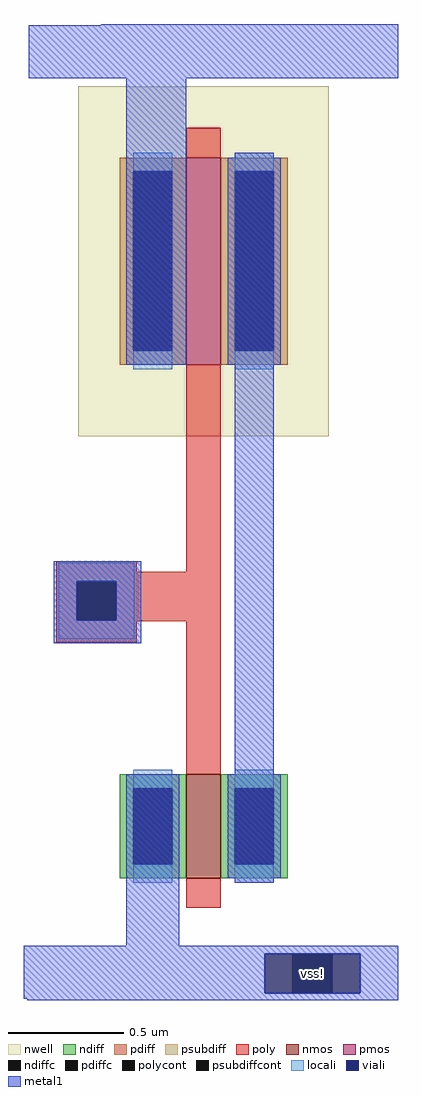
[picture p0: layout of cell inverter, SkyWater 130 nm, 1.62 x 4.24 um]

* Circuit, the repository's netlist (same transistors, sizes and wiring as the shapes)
**.subckt inverter out in vdd vss
*.opin out
*.ipin in
*.ipin vdd
*.ipin vss
XM1 out in vss vss sky130_fd_pr__nfet_01v8 L=0.15 W=0.45 nf=1 ad='int((nf+1)/2) * W/nf * 0.29' as='int((nf+2)/2) * W/nf * 0.29'
+ pd='2*int((nf+1)/2) * (W/nf + 0.29)' ps='2*int((nf+2)/2) * (W/nf + 0.29)' nrd='0.29 / W' nrs='0.29 / W'
+ sa=0 sb=0 sd=0 mult=1 m=1 
XM2 out in vdd vdd sky130_fd_pr__pfet_01v8 L=0.15 W=0.9 nf=1 ad='int((nf+1)/2) * W/nf * 0.29' as='int((nf+2)/2) * W/nf * 0.29'
+ pd='2*int((nf+1)/2) * (W/nf + 0.29)' ps='2*int((nf+2)/2) * (W/nf + 0.29)' nrd='0.29 / W' nrs='0.29 / W'
+ sa=0 sb=0 sd=0 mult=1 m=1 
**.ends
** flattened .save nodes
.end

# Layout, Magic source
magic
tech sky130A
magscale 1 2
<< psubdiff >>
rect -160 -153 -136 -119
rect -101 -153 -77 -119
<< psubdiffcont >>
rect -136 -153 -101 -119
<< poly >>
rect -341 213 -271 222
rect -228 213 -198 369
rect -341 205 -198 213
rect -341 171 -323 205
rect -289 171 -198 205
rect -341 170 -198 171
rect -341 152 -271 170
rect -228 51 -198 170
<< polycont >>
rect -323 171 -289 205
<< locali >>
rect -339 205 -273 221
rect -339 171 -323 205
rect -289 171 -273 205
rect -339 155 -273 171
<< viali >>
rect -323 171 -289 205
rect -160 -153 -136 -119
rect -136 -153 -101 -119
rect -101 -153 -77 -119
<< metal1 >>
rect -302 688 -44 689
rect -365 642 -44 688
rect -280 393 -228 642
rect -343 205 -267 222
rect -343 171 -323 205
rect -289 171 -267 205
rect -343 151 -267 171
rect -280 -112 -234 37
rect -186 -57 -152 577
rect -369 -119 -44 -112
rect -369 -153 -160 -119
rect -77 -153 -44 -119
rect -369 -158 -44 -153
rect -366 -159 -44 -158
use sky130_fd_pr__pfet_01v8_5AYHFE  sky130_fd_pr__pfet_01v8_5AYHFE_0
transform 1 0 -213 0 1 483
box -109 -152 109 152
use sky130_fd_pr__nfet_01v8_NNQ2PV  sky130_fd_pr__nfet_01v8_NNQ2PV_0
transform 1 0 -213 0 1 -8
box -73 -71 73 71
<< labels >>
rlabel metal1 -160 -153 -77 -119 1 vss!
<< end >>

# cell sky130_fd_pr__pfet_01v8_5AYHFE: kit device sky130_fd_pr__pfet_01v8, w 0.9 l 0.15 m 1 nf 1 diffcov 100 polycov 100 guard 0 glc 0 grc 0 gtc 0 gbc 0 tbcov 100 rlcov 100 topc 0 botc 0 poverlap 0 doverlap 1 lmin 0.15 wmin 0.42 compatible {sky130_fd_pr__pfet_01v8 sky130_fd_pr__pfet_01v8_lvt sky130_fd_pr__pfet_01v8_hvt sky130_fd_pr__pfet_g5v0d10v5} full_metal 0 viasrc 100 viadrn 100 viagate 100 viagb 0 viagr 0 viagl 0 viagt 0

# cell sky130_fd_pr__nfet_01v8_NNQ2PV: kit device sky130_fd_pr__nfet_01v8, w 0.450 l 0.150 m 1 nf 1 diffcov 100 polycov 100 guard 0 glc 0 grc 0 gtc 0 gbc 0 tbcov 100 rlcov 100 topc 0 botc 0 poverlap 0 doverlap 1 lmin 0.15 wmin 0.42 compatible {sky130_fd_pr__nfet_01v8 sky130_fd_pr__nfet_01v8_lvt sky130_fd_bs_flash__special_sonosfet_star sky130_fd_pr__nfet_g5v0d10v5 sky130_fd_pr__nfet_05v0_nvt} full_metal 0 viasrc 100 viadrn 100 viagate 100 viagb 0 viagr 0 viagl 0 viagt 0
